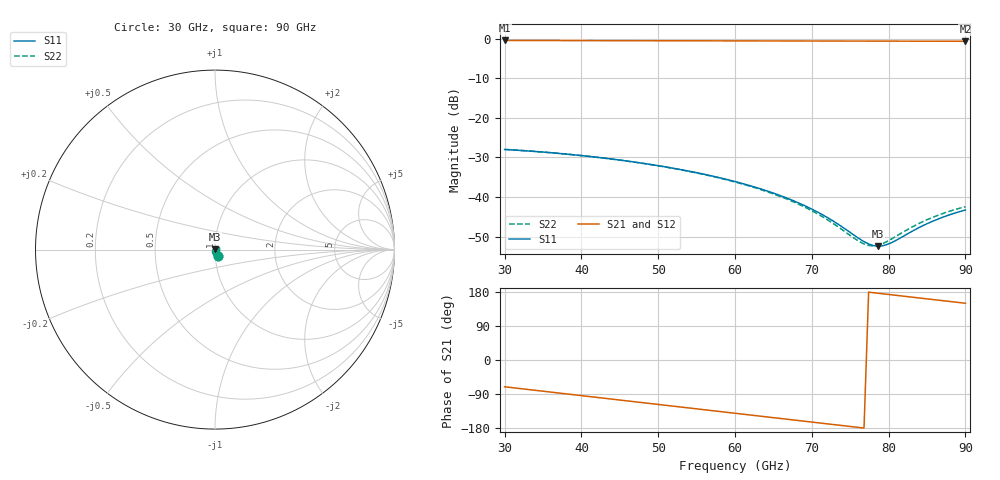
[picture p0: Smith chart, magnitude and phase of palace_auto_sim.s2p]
#  GHZ S DB R 50
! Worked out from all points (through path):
!   101 points, 30 GHz to 90 GHz, reference 50 ohm
!   highest |S21| = -0.47 dB at 30 GHz (marker M1); lowest = -0.7 dB at 90 GHz (marker M2)
!   group delay of S21, straight-line fit = 6.46 ps
!   lowest |S11| = -52.4 dB at 78.6 GHz (marker M3), VSWR 1.00, Z = 50 + j0.238 ohm
!   |S11| at or under -10 dB: start of sweep to end of sweep
!   |S22| runs from -52.3 to -28.0 dB; largest |S21 - S12| = 1.1e-14
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30  -27.98 -61.9  -0.47 -70.7  -0.47 -70.7  -27.98 -61.9
35.4  -28.71 -76.2  -0.49 -83.3  -0.49 -83.3  -28.71 -76.2
40.2  -29.58 -89.1  -0.51 -94.5  -0.51 -94.5  -29.58 -89.1
45  -30.67 -102.1  -0.53 -105.6  -0.53 -105.6  -30.68 -102.2
50.4  -32.21 -117.2  -0.54 -118.2  -0.54 -118.2  -32.24 -117.3
55.2  -33.93 -131.2  -0.56 -129.4  -0.56 -129.4  -33.99 -131.2
60  -36.09 -145.9  -0.58 -140.5  -0.58 -140.5  -36.20 -146.0
63  -37.74 -155.8  -0.59 -147.5  -0.59 -147.5  -37.90 -156.0
65.4  -39.28 -164.4  -0.59 -153.1  -0.59 -153.1  -39.50 -164.7
67.8  -41.09 -173.9  -0.60 -158.7  -0.60 -158.7  -41.38 -174.5
70.2  -43.24 174.9  -0.61 -164.3  -0.61 -164.3  -43.66 173.9
72.6  -45.84 160.7  -0.62 -169.8  -0.62 -169.8  -46.43 158.5
76.2  -50.54 125.1  -0.63 -178.2  -0.63 -178.2  -51.24 117.2
77.4  -51.85 105.9  -0.63 179.0  -0.63 179.0  -52.21 95.2
78  -52.25 94.9  -0.63 177.6  -0.63 177.6  -52.32 83.4
78.6  -52.40 83.4  -0.64 176.2  -0.64 176.2  -52.17 71.7
79.2  -52.31 72.1  -0.64 174.8  -0.64 174.8  -51.78 60.9
80.4  -51.50 51.6  -0.64 172.0  -0.64 172.0  -50.58 42.5
82.8  -48.92 22.7  -0.65 166.5  -0.65 166.5  -47.84 17.7
85.2  -46.56 4.7  -0.66 160.9  -0.66 160.9  -45.57 1.8
87.6  -44.71 -8.3  -0.67 155.3  -0.67 155.3  -43.81 -10.1
90  -43.27 -18.9  -0.67 149.7  -0.67 149.7  -42.44 -20.1
